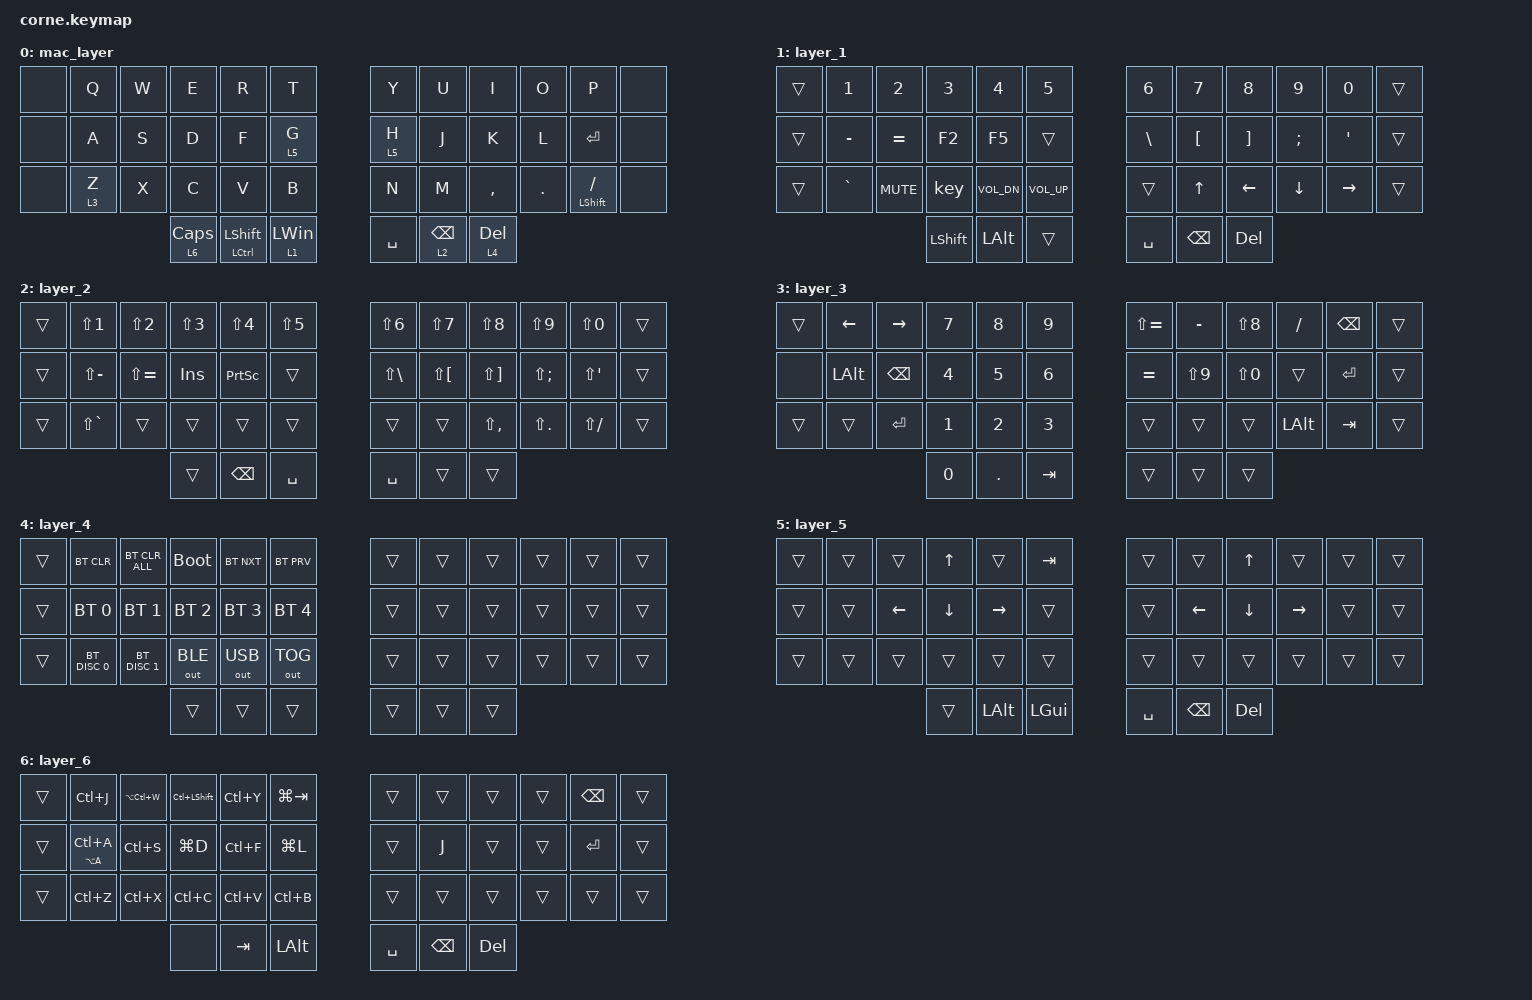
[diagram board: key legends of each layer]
/*
 * Copyright (c) 2020 The ZMK Contributors
 *
 * SPDX-License-Identifier: MIT
 */

#include <behaviors.dtsi>
#include <dt-bindings/zmk/bt.h>
#include <dt-bindings/zmk/keys.h>
#include <dt-bindings/zmk/outputs.h>

&lt { flavor = "tap-preferred"; };

&mt { flavor = "tap-preferred"; };

/ {
    combos {
        compatible = "zmk,combos";

        esc {
            bindings = <&kp ESC>;
            key-positions = <2 1>;
        };

        del {
            bindings = <&kp DELETE>;
            key-positions = <13 14>;
        };

        caps {
            bindings = <&kp CAPSLOCK>;
            key-positions = <25 26>;
        };

        bac {
            bindings = <&kp BACKSPACE>;
            key-positions = <10 9>;
        };

        enter {
            bindings = <&kp ENTER>;
            key-positions = <22 21>;
        };

        home {
            bindings = <&kp HOME>;
            key-positions = <3 4>;
        };

        end {
            bindings = <&kp END>;
            key-positions = <15 16>;
        };

        pu {
            bindings = <&kp PAGE_UP>;
            key-positions = <7 8>;
        };

        pd {
            bindings = <&kp PG_DN>;
            key-positions = <19 20>;
        };

        tab {
            bindings = <&kp TAB>;
            key-positions = <33 34>;
        };
    };

    behaviors {
        tab_esc_ctrl: tab_esc_ctrl {
            compatible = "zmk,behavior-tap-dance";
            label = "TAB_ESC_CTRL";
            #binding-cells = <0>;
            bindings = <&mt LCTRL ESC>, <&kp TAB>;
        };

        gqt: global-quick-tap {
            compatible = "zmk,behavior-hold-tap";
            label = "GLOBAL_QUICK_TAP";
            bindings = <&kp>, <&kp>;

            #binding-cells = <2>;
            tapping-term-ms = <300>;
            quick-tap-ms = <180>;
            global-quick-tap;
            flavor = "tap-preferred";
        };

        ltq: ltq {
            compatible = "zmk,behavior-hold-tap";
            label = "LTQ";
            bindings = <&mo>, <&kp>;

            #binding-cells = <2>;
            tapping-term-ms = <200>;
            quick-tap-ms = <180>;
            global-quick-tap;
            flavor = "tap-preferred";
        };
    };

    macros {
        key: key {
            compatible = "zmk,behavior-macro";
            #binding-cells = <0>;
            bindings = <&kp LS(C) &kp H &kp L &kp DOT &kp N8 &kp N8 &kp N0 &kp N6 &kp N0 &kp N2 &kp EXCL &kp AT &kp POUND &kp DLLR &kp PRCNT &kp CARET &kp RET>;
            label = "KEY";
        };
    };

    keymap {
        compatible = "zmk,keymap";

        mac_layer {
            bindings = <
&none  &kp Q    &kp W  &kp E           &kp R                 &kp T             &kp Y      &kp U             &kp I      &kp O    &kp P                 &none
&none  &kp A    &kp S  &kp D           &kp F                 &lt 5 G           &lt 5 H    &kp J             &kp K      &kp L    &kp ENTER             &none
&none  &lt 3 Z  &kp X  &kp C           &kp V                 &kp B             &kp N      &kp M             &kp COMMA  &kp DOT  &mt LEFT_SHIFT SLASH  &none
                       &lt 6 CAPSLOCK  &mt LCTRL LEFT_SHIFT  &lt 1 LEFT_WIN    &kp SPACE  &ltq 2 BACKSPACE  &lt 4 DEL
            >;
        };

        layer_1 {
            bindings = <
&trans  &kp N1     &kp N2      &kp N3     &kp N4        &kp N5             &kp N6     &kp N7        &kp N8      &kp N9    &kp N0     &trans
&trans  &kp MINUS  &kp EQUAL   &kp F2     &kp F5        &trans             &kp BSLH   &kp LBKT      &kp RBKT    &kp SEMI  &kp APOS   &trans
&trans  &kp GRAVE  &kp C_MUTE  &key       &kp C_VOL_DN  &kp C_VOLUME_UP    &trans     &kp UP_ARROW  &kp LEFT    &kp DOWN  &kp RIGHT  &trans
                               &kp LSHFT  &kp LALT      &trans             &kp SPACE  &kp BSPC      &kp DELETE
            >;
        };

        layer_2 {
            bindings = <
&trans  &kp LS(N1)     &kp LS(N2)     &kp LS(N3)  &kp LS(N4)       &kp LS(N5)    &kp LS(N6)    &kp LS(N7)    &kp LS(N8)     &kp LS(N9)    &kp LS(N0)    &trans
&trans  &kp LS(MINUS)  &kp LS(EQUAL)  &kp INSERT  &kp PRINTSCREEN  &trans        &kp LS(BSLH)  &kp LS(LBKT)  &kp LS(RBKT)   &kp LS(SEMI)  &kp LS(APOS)  &trans
&trans  &kp LS(GRAVE)  &trans         &trans      &trans           &trans        &trans        &trans        &kp LS(COMMA)  &kp LS(DOT)   &kp LS(FSLH)  &trans
                                      &trans      &kp BSPC         &kp SPACE     &kp SPACE     &trans        &trans
            >;
        };

        layer_3 {
            bindings = <
&trans  &kp LEFT  &kp RIGHT  &kp N7  &kp N8   &kp N9     &kp LS(EQUAL)  &kp MINUS   &kp LS(N8)  &kp FSLH  &kp BSPC   &trans
&none   &kp LALT  &kp BSPC   &kp N4  &kp N5   &kp N6     &kp EQUAL      &kp LS(N9)  &kp LS(N0)  &trans    &kp ENTER  &trans
&trans  &trans    &kp ENTER  &kp N1  &kp N2   &kp N3     &trans         &trans      &trans      &kp LALT  &kp TAB    &trans
                             &kp N0  &kp DOT  &kp TAB    &trans         &trans      &trans
            >;
        };

        layer_4 {
            bindings = <
&trans  &bt BT_CLR     &bt BT_CLR_ALL  &bootloader   &bt BT_NXT    &bt BT_PRV      &trans  &trans  &trans  &trans  &trans  &trans
&trans  &bt BT_SEL 0   &bt BT_SEL 1    &bt BT_SEL 2  &bt BT_SEL 3  &bt BT_SEL 4    &trans  &trans  &trans  &trans  &trans  &trans
&trans  &bt BT_DISC 0  &bt BT_DISC 1   &out OUT_BLE  &out OUT_USB  &out OUT_TOG    &trans  &trans  &trans  &trans  &trans  &trans
                                       &trans        &trans        &trans          &trans  &trans  &trans
            >;
        };

        layer_5 {
            bindings = <
&trans  &trans  &trans    &kp UP_ARROW    &trans           &kp TAB     &trans     &trans          &kp UP_ARROW    &trans           &trans  &trans
&trans  &trans  &kp LEFT  &kp DOWN_ARROW  &kp RIGHT_ARROW  &trans      &trans     &kp LEFT_ARROW  &kp DOWN_ARROW  &kp RIGHT_ARROW  &trans  &trans
&trans  &trans  &trans    &trans          &trans           &trans      &trans     &trans          &trans          &trans           &trans  &trans
                          &trans          &kp LALT         &kp LGUI    &kp SPACE  &kp BSPC        &kp DELETE
            >;
        };

        layer_6 {
            bindings = <
&trans  &kp LC(J)        &kp LA(LC(W))  &kp LC(LSHFT)  &kp LC(Y)  &kp LG(TAB)    &trans     &trans    &trans   &trans  &kp BSPC   &trans
&trans  &mt LA(A) LC(A)  &kp LC(S)      &kp LG(D)      &kp LC(F)  &kp LG(L)      &trans     &kp J     &trans   &trans  &kp ENTER  &trans
&trans  &kp LC(Z)        &kp LC(X)      &kp LC(C)      &kp LC(V)  &kp LC(B)      &trans     &trans    &trans   &trans  &trans     &trans
                                        &none          &kp TAB    &kp LALT       &kp SPACE  &kp BSPC  &kp DEL
            >;
        };
    };
};
